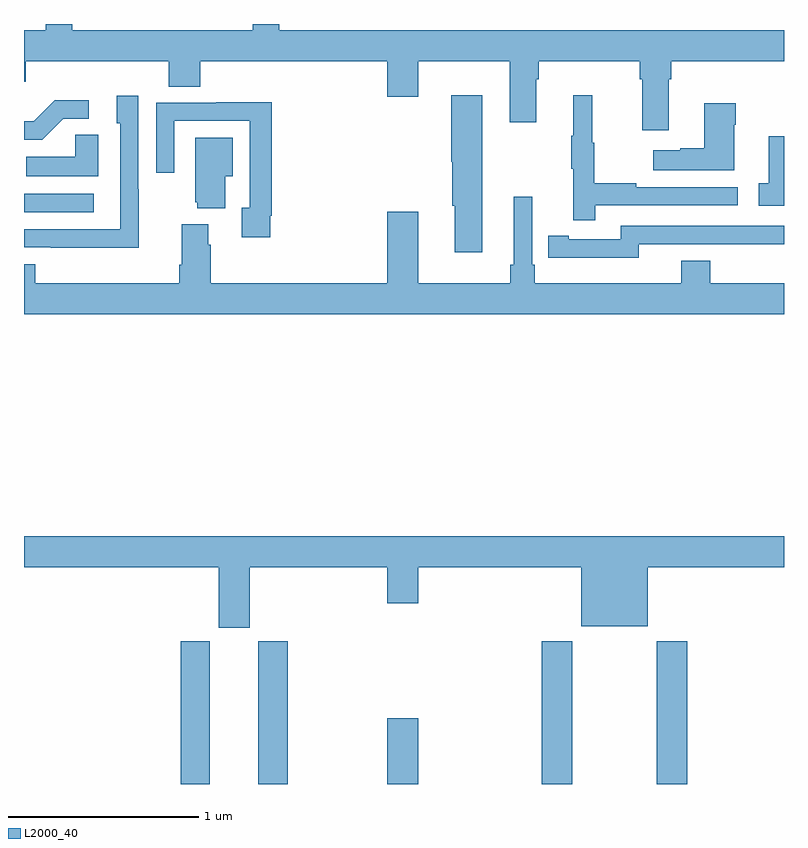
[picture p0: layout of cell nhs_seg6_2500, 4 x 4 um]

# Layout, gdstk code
import gdstk
lib = gdstk.Library(unit=1e-6, precision=1e-09)
def R(c, l, rs):  # rectangles x0, y0, x1, y1
    for r in rs: c.add(gdstk.rectangle(r[:2], r[2:], *l))
def P(c, l, *ps):  # polygons
    for p in ps: c.add(gdstk.Polygon(p, *l))
L2000_40 = (2000, 40)

nhs_seg6_2500 = lib.new_cell('nhs_seg6_2500')
R(nhs_seg6_2500, L2000_40, [(259.826,975.5,259.978,976.251), (260.234,975.5,260.387,976.251), (260.912,975.5,261.076,975.847), (261.725,975.5,261.885,976.252), (262.33,975.5,262.49,976.252), (259,978.51,259.366,978.606)])
P(nhs_seg6_2500, L2000_40, [(262.393,979.208),(262.406,979.208),(262.406,979.304),(263,979.304),(263,979.468),(260.344,979.468),(260.344,979.5),(260.205,979.5),(260.205,979.468),(259.255,979.468),(259.255,979.5),(259.115,979.5),(259.115,979.468),(259,979.468),(259,979.195),(259.01,979.195),(259.01,979.304),(259.763,979.304),(259.763,979.171),(259.928,979.171),(259.928,979.304),(260.912,979.304),(260.912,979.116),(261.076,979.116),(261.076,979.304),(261.557,979.304),(261.557,978.984),(261.697,978.984),(261.697,979.208),(261.71,979.208),(261.71,979.304),(262.241,979.304),(262.241,979.208),(262.253,979.208),(262.253,978.942),(262.393,978.942)],
  [(262.007,978.546),(262.756,978.546),(262.756,978.642),(262.223,978.642),(262.223,978.662),(262,978.662),(262,978.876),(261.992,978.876),(261.992,979.126),(261.89,979.126),(261.89,978.913),(261.879,978.913),(261.879,978.739),(261.89,978.739),(261.89,978.468),(262.007,978.468)],
  [(261.412,979.126),(261.248,979.126),(261.248,978.774),(261.254,978.774),(261.254,978.543),(261.266,978.543),(261.266,978.3),(261.412,978.3)],
  [(259.605,978.629),(259.602,978.629),(259.602,979.123),(259.487,979.123),(259.487,978.978),(259.506,978.978),(259.506,978.42),(259,978.42),(259,978.324),(259.141,978.324),(259.141,978.323),(259.605,978.323)],
  [(259.207,979.002),(259.342,979.002),(259.342,979.1),(259.163,979.1),(259.05,978.987),(259,978.987),(259,978.891),(259.096,978.891)],
  [(260.296,978.49),(260.303,978.49),(260.303,979.088),(260.011,979.088),(260.011,979.086),(259.695,979.086),(259.695,978.717),(259.791,978.717),(259.791,978.99),(260.187,978.99),(260.187,978.534),(260.147,978.534),(260.147,978.378),(260.296,978.378)],
  [(262.738,978.971),(262.746,978.971),(262.746,979.084),(262.58,979.084),(262.58,978.845),(262.454,978.845),(262.454,978.835),(262.311,978.835),(262.311,978.731),(262.738,978.731)],
  [(259.39,978.917),(259.269,978.917),(259.269,978.802),(259.012,978.802),(259.012,978.698),(259.39,978.698)],
  [(263,978.91),(262.919,978.91),(262.919,978.663),(262.866,978.663),(262.866,978.543),(263,978.543)],
  [(260.059,978.698),(260.098,978.698),(260.098,978.901),(259.901,978.901),(259.901,978.561),(259.913,978.561),(259.913,978.53),(260.059,978.53)],
  [(263,978.136),(262.613,978.136),(262.613,978.253),(262.46,978.253),(262.46,978.136),(261.689,978.136),(261.689,978.232),(261.675,978.232),(261.675,978.592),(261.578,978.592),(261.578,978.232),(261.559,978.232),(261.559,978.136),(261.076,978.136),(261.076,978.511),(260.912,978.511),(260.912,978.136),(259.982,978.136),(259.982,978.338),(259.969,978.338),(259.969,978.445),(259.829,978.445),(259.829,978.232),(259.817,978.232),(259.817,978.136),(259.058,978.136),(259.058,978.235),(259,978.235),(259,977.972),(263,977.972)],
  [(262.236,978.342),(262.696,978.342),(262.696,978.341),(263,978.341),(263,978.438),(262.14,978.438),(262.14,978.366),(261.868,978.366),(261.868,978.386),(261.76,978.386),(261.76,978.27),(261.868,978.27),(261.868,978.269),(262.236,978.269)],
  [(260.188,976.64),(260.912,976.64),(260.912,976.452),(261.076,976.452),(261.076,976.64),(261.932,976.64),(261.932,976.331),(262.282,976.331),(262.282,976.64),(263,976.64),(263,976.804),(259,976.804),(259,976.64),(260.024,976.64),(260.024,976.323),(260.188,976.323)])

lib.write_gds('nhs_seg6_2500.gds')
